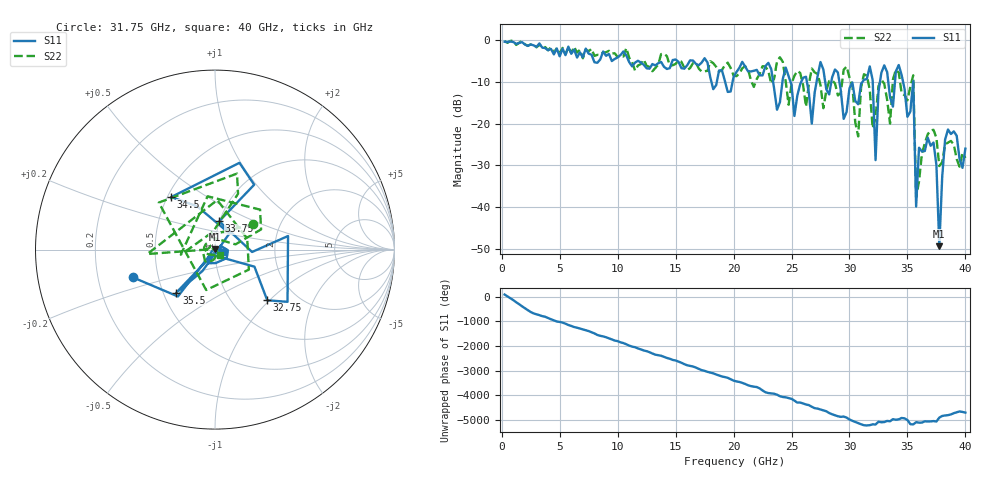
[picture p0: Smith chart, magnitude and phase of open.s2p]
# GHz S RI R 50
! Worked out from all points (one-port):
!   160 points, 250 MHz to 40 GHz, reference 50 ohm
!   lowest |S11| = -49.3 dB at 37.75 GHz (marker M1), VSWR 1.01, Z = 49.7 + j0.2 ohm
!   |S11| at or under -10 dB: 24.91 GHz to 25.84 GHz (926.8 MHz wide, 3.65 % of centre); 29.13 GHz to 31.12 GHz (1.99 GHz wide, 6.61 % of centre); 35.5 GHz to end of sweep (the widest 3 of 11)
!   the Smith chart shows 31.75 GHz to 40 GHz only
!   S11 on the Smith chart (normalised r, x): 31.75 GHz: 0.36, -0.14; 32.75 GHz: 1.44, -0.97; 33.75 GHz: 1.00, +0.32; 34.5 GHz: 0.52, +0.36; 35.5 GHz: 0.58, -0.31; 40 GHz: 1.10, -0.02
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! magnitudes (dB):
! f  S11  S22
! 250 MHz  -0.4  -0.3
! 7 GHz  -4.1  -4.4
! 13.5 GHz  -5.5  -5.9
! 20.25 GHz  -7.7  -8.7
! 26.25 GHz  -8.8  -16.0
! 26.75 GHz  -20.0  -6.8
! 27.5 GHz  -5.3  -10.8
! 29.5 GHz  -18.9  -7.1
! 30.75 GHz  -15.4  -23.1
! 31.75 GHz  -6.3  -11.9
! 32.25 GHz  -28.7  -18.6
! 32.75 GHz  -7.8  -9.5
! 33.5 GHz  -13.7  -20.0
! 33.75 GHz  -15.9  -9.5
! 34.5 GHz  -8.4  -12.7
! 35.5 GHz  -9.8  -8.4
! 35.75 GHz  -39.8  -37.6
! 36 GHz  -25.8  -33.8
! 37.25 GHz  -24.5  -21.5
! 37.75 GHz  -49.3  -30.2
! 38.25 GHz  -23.8  -25.0
! 40 GHz  -26.0  -28.2
